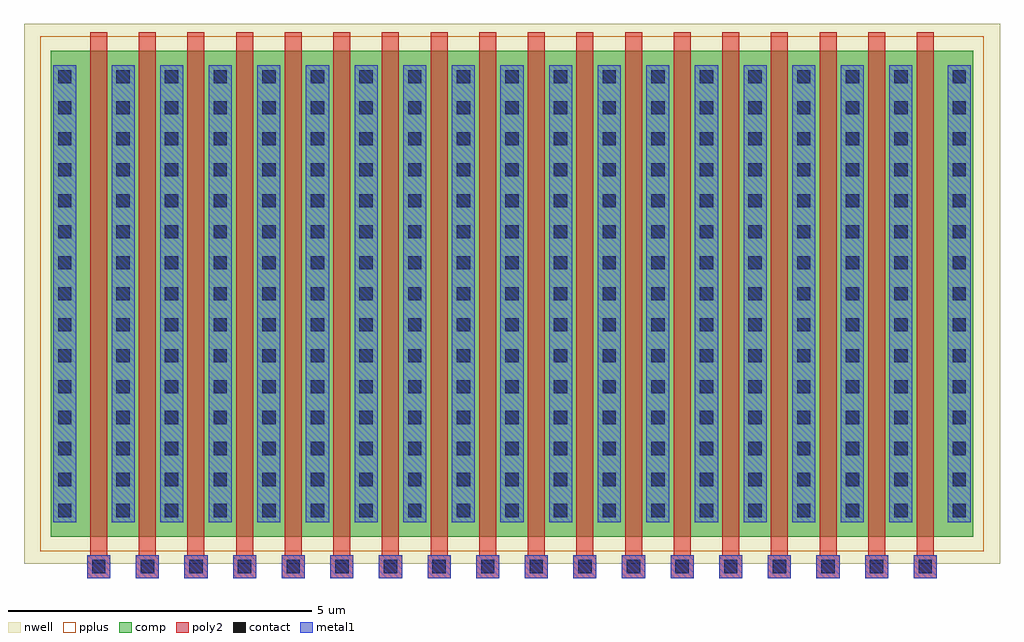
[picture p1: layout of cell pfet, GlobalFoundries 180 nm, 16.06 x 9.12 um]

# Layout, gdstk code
import gdstk
lib = gdstk.Library(unit=1e-6, precision=5e-09)
def R(c, l, rs):  # rectangles x0, y0, x1, y1
    for r in rs: c.add(gdstk.rectangle(r[:2], r[2:], *l))
def A(c, l, x, y, w, h, nx, ny, dx, dy):  # array of equal rectangles
    R(c, l, [(x+i*dx, y+j*dy, x+i*dx+w, y+j*dy+h) for i in range(nx) for j in range(ny)])
nwell = (21, 0)
comp = (22, 0)
poly2 = (30, 0)
pplus = (31, 0)
contact = (33, 0)
metal1 = (34, 0)

pfet = lib.new_cell('pfet')
R(pfet, nwell, [(-0.9,-0.44,15.16,8.44)])
R(pfet, comp, [(-0.46,0,0,8), (0,0,14.26,8), (14.26,0,14.72,8)])
A(pfet, poly2, 0.14, -0.68, 0.38, 0.38, 18, 1, 0.8, 0)
A(pfet, poly2, 0.19, -0.3, 0.28, 8.6, 18, 1, 0.8, 0)
R(pfet, pplus, [(-0.63,-0.24,14.89,8.24)])
A(pfet, contact, 0.22, -0.6, 0.22, 0.22, 18, 1, 0.8, 0)
A(pfet, contact, -0.34, 0.32, 0.22, 0.22, 1, 15, 0, 0.51)
A(pfet, contact, 0.62, 0.32, 0.22, 0.22, 17, 15, 0.8, 0.51)
A(pfet, contact, 14.38, 0.32, 0.22, 0.22, 1, 15, 0, 0.51)
A(pfet, metal1, 0.14, -0.68, 0.38, 0.38, 18, 1, 0.8, 0)
A(pfet, metal1, 0.54, 0.24, 0.38, 7.52, 17, 1, 0.8, 0)
R(pfet, metal1, [(-0.42,0.24,-0.04,7.76), (14.3,0.24,14.68,7.76)])

lib.write_gds('pfet.gds')
